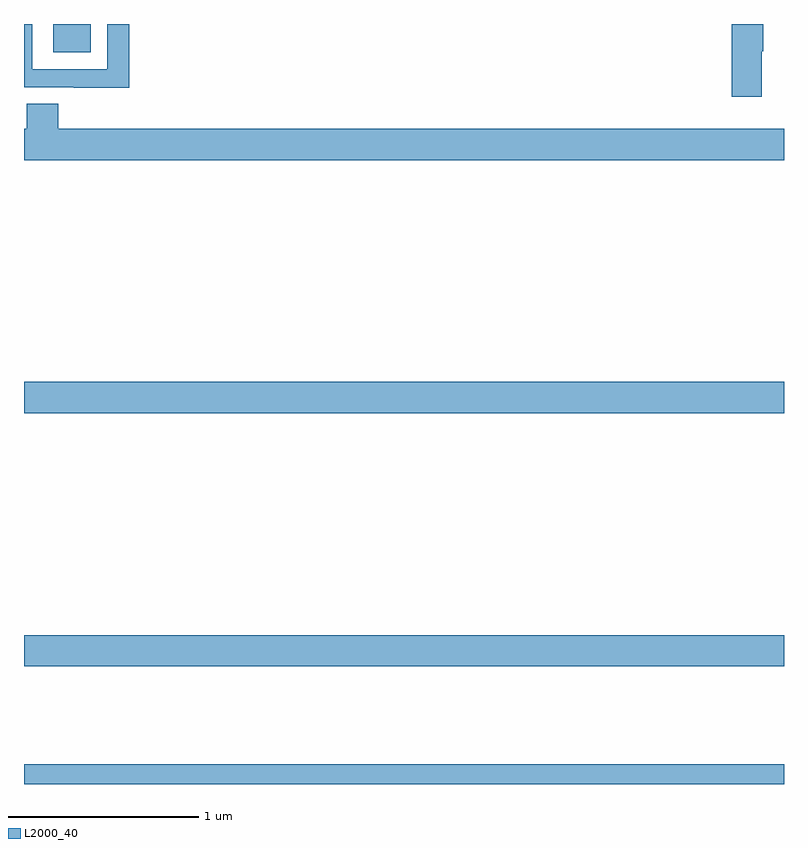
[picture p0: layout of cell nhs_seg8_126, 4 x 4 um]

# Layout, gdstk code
import gdstk
lib = gdstk.Library(unit=1e-6, precision=1e-09)
def R(c, l, rs):  # rectangles x0, y0, x1, y1
    for r in rs: c.add(gdstk.rectangle(r[:2], r[2:], *l))
def P(c, l, *ps):  # polygons
    for p in ps: c.add(gdstk.Polygon(p, *l))
L2000_40 = (2000, 40)

nhs_seg8_126 = lib.new_cell('nhs_seg8_126')
R(nhs_seg8_126, L2000_40, [(119,1095.9,123,1096.004), (119,1096.52,123,1096.684), (119,1097.852,123,1098.016), (119.153,1099.751,119.35,1099.9)])
P(nhs_seg8_126, L2000_40, [(122.884,1099.756),(122.892,1099.756),(122.892,1099.9),(122.726,1099.9),(122.726,1099.518),(122.884,1099.518)],
  [(119.555,1099.9),(119.439,1099.9),(119.439,1099.662),(119.043,1099.662),(119.043,1099.9),(119,1099.9),(119,1099.566),(119.263,1099.566),(119.263,1099.565),(119.555,1099.565)],
  [(123,1099.348),(119.18,1099.348),(119.18,1099.481),(119.015,1099.481),(119.015,1099.348),(119,1099.348),(119,1099.184),(123,1099.184)])

lib.write_gds('nhs_seg8_126.gds')
